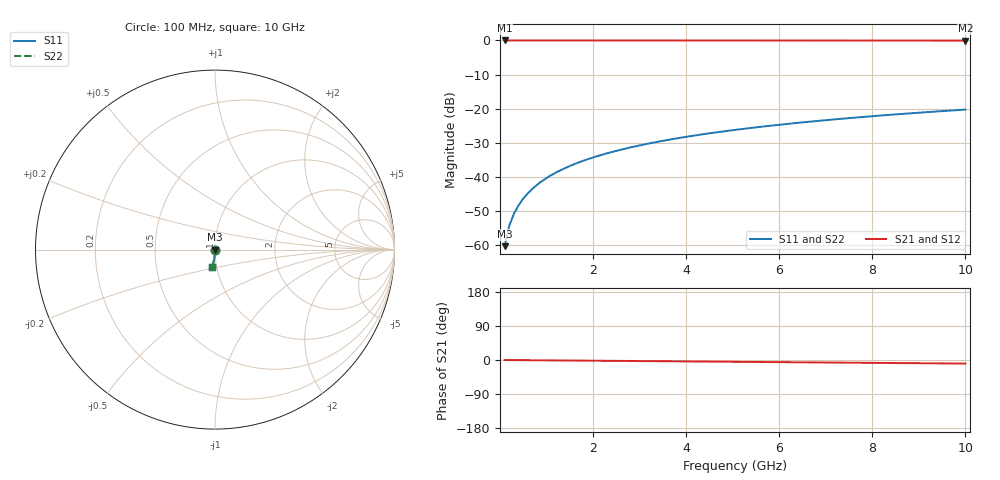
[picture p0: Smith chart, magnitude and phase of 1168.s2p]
# Hz S RI R 50.00
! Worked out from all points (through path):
!   100 points, 100 MHz to 10 GHz, reference 50 ohm
!   highest |S21| = 0.00 dB at 100 MHz (marker M1); lowest = 0.0 dB at 10 GHz (marker M2)
!   group delay of S21, straight-line fit = 2.62 ps
!   lowest |S11| = -60.2 dB at 100 MHz (marker M3), VSWR 1.00, Z = 50 - j0.0966 ohm
!   |S11| at or under -10 dB: start of sweep to end of sweep
!   |S22| runs from -60.2 to -20.2 dB; largest |S21 - S12| = 0
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1e8  0.000117 -0.000966  0.9999 -0.00163  0.9999 -0.00163  0.000117 -0.000966
2e8  0.000112 -0.00193  0.9999 -0.00326  0.9999 -0.00326  0.000112 -0.00193
3e8  0.000104 -0.0029  0.9999 -0.00489  0.9999 -0.00489  0.000104 -0.0029
4e8  9.2e-05 -0.00386  0.9998 -0.00652  0.9998 -0.00652  9.2e-05 -0.00386
5e8  7.7e-05 -0.00483  0.9998 -0.00816  0.9998 -0.00816  7.7e-05 -0.00483
6e8  5.87e-05 -0.0058  0.9998 -0.00979  0.9998 -0.00979  5.87e-05 -0.0058
7e8  3.73e-05 -0.00676  0.9998 -0.0114  0.9998 -0.0114  3.73e-05 -0.00676
8e8  1.27e-05 -0.00773  0.9998 -0.0131  0.9998 -0.0131  1.27e-05 -0.00773
9e8  -1.5e-05 -0.0087  0.9997 -0.0147  0.9997 -0.0147  -1.5e-05 -0.0087
1.1e9  -8.01e-05 -0.0106  0.9996 -0.0179  0.9996 -0.0179  -8.01e-05 -0.0106
1.4e9  -0.000202 -0.0135  0.9995 -0.0228  0.9995 -0.0228  -0.000202 -0.0135
1.8e9  -0.000408 -0.0174  0.9993 -0.0294  0.9993 -0.0294  -0.000408 -0.0174
2.1e9  -0.000596 -0.0203  0.9991 -0.0343  0.9991 -0.0343  -0.000596 -0.0203
2.5e9  -0.000892 -0.0242  0.9987 -0.0408  0.9987 -0.0408  -0.000892 -0.0242
2.9e9  -0.00124 -0.0281  0.9983 -0.0474  0.9983 -0.0474  -0.00124 -0.0281
3.4e9  -0.00174 -0.0329  0.9977 -0.0556  0.9977 -0.0556  -0.00174 -0.0329
4.2e9  -0.00272 -0.0406  0.9966 -0.0687  0.9966 -0.0687  -0.00272 -0.0406
5.1e9  -0.00407 -0.0493  0.9951 -0.0834  0.9951 -0.0834  -0.00407 -0.0493
5.9e9  -0.00548 -0.057  0.9935 -0.0965  0.9935 -0.0965  -0.00548 -0.057
6.7e9  -0.0071 -0.0647  0.9916 -0.1096  0.9916 -0.1096  -0.0071 -0.0647
8.4e9  -0.0112 -0.0809  0.9869 -0.1373  0.9869 -0.1373  -0.0112 -0.0809
1e10  -0.0159 -0.0959  0.9815 -0.1633  0.9815 -0.1633  -0.0159 -0.0959
